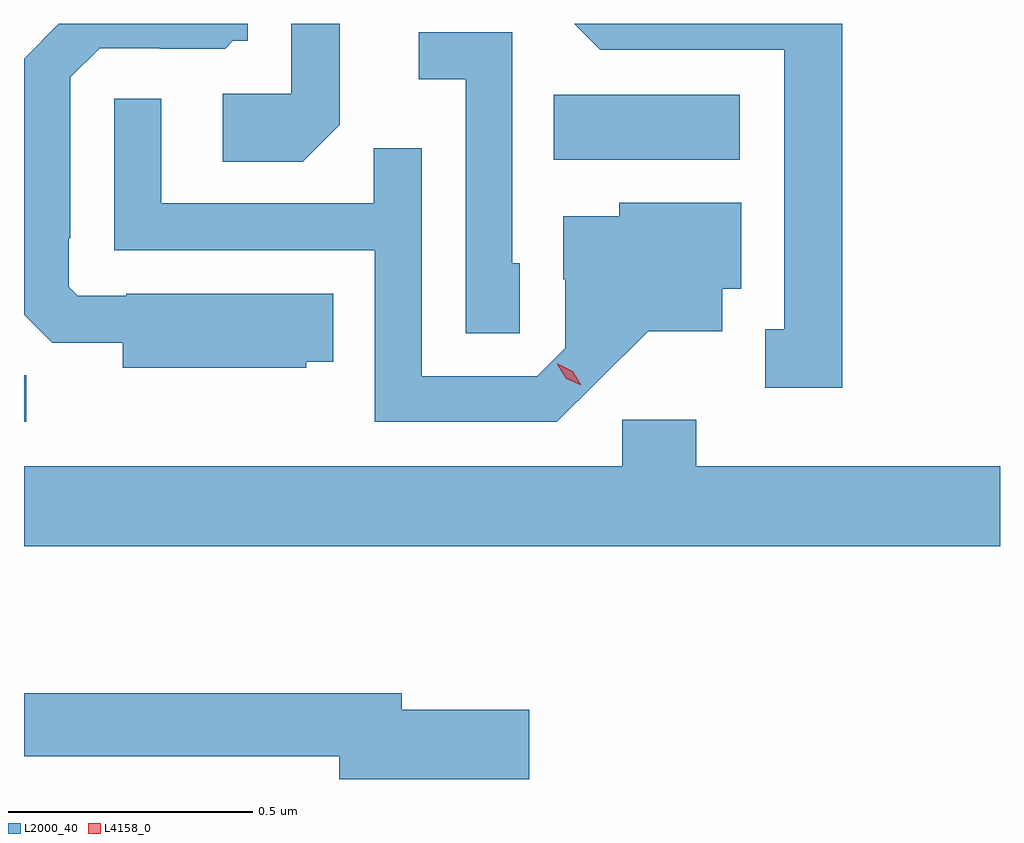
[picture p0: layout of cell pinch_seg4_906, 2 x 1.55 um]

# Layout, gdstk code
import gdstk
lib = gdstk.Library(unit=1e-6, precision=1e-09)
def R(c, l, rs):  # rectangles x0, y0, x1, y1
    for r in rs: c.add(gdstk.rectangle(r[:2], r[2:], *l))
def P(c, l, *ps):  # polygons
    for p in ps: c.add(gdstk.Polygon(p, *l))
L2000_40 = (2000, 40)
L4158_0 = (4158, 0)

pinch_seg4_906 = lib.new_cell('pinch_seg4_906')
R(pinch_seg4_906, L2000_40, [(709.264,826.38,709.269,826.475), (710.35,826.916,710.731,827.05)])
P(pinch_seg4_906, L2000_40, [(709.911,826.988),(709.911,827.195),(709.812,827.195),(709.812,827.052),(709.671,827.052),(709.671,826.912),(709.835,826.912)],
  [(710.941,827.195),(710.392,827.195),(710.445,827.142),(710.822,827.142),(710.822,826.569),(710.783,826.569),(710.783,826.449),(710.941,826.449)],
  [(709.842,826.502),(709.898,826.502),(709.898,826.642),(709.474,826.642),(709.474,826.638),(709.374,826.638),(709.356,826.656),(709.356,826.756),(709.359,826.756),(709.359,827.085),(709.419,827.145),(709.542,827.145),(709.542,827.144),(709.676,827.144),(709.692,827.16),(709.723,827.16),(709.723,827.195),(709.335,827.195),(709.264,827.123),(709.264,826.599),(709.322,826.541),(709.466,826.541),(709.466,826.49),(709.842,826.49)],
  [(710.28,826.704),(710.265,826.704),(710.265,827.178),(710.073,827.178),(710.073,827.081),(710.169,827.081),(710.169,826.561),(710.28,826.561)],
  [(710.44,826.463),(710.543,826.565),(710.695,826.565),(710.695,826.652),(710.734,826.652),(710.734,826.828),(710.484,826.828),(710.484,826.801),(710.369,826.801),(710.369,826.672),(710.373,826.672),(710.373,826.53),(710.316,826.473),(710.079,826.473),(710.079,826.94),(709.981,826.94),(709.981,826.827),(709.545,826.827),(709.545,827.041),(709.449,827.041),(709.449,826.731),(709.983,826.731),(709.983,826.38),(710.356,826.38)],
  [(711.264,826.288),(710.642,826.288),(710.642,826.384),(710.49,826.384),(710.49,826.288),(709.264,826.288),(709.264,826.124),(711.264,826.124)],
  [(710.299,825.789),(710.038,825.789),(710.038,825.823),(709.264,825.823),(709.264,825.694),(709.91,825.694),(709.91,825.647),(710.299,825.647)])
P(pinch_seg4_906, L4158_0, [(710.406,826.454),(710.375,826.468),(710.357,826.497),(710.357,826.498),(710.358,826.498),(710.388,826.483),(710.406,826.454),(710.406,826.454)])

lib.write_gds('pinch_seg4_906.gds')
